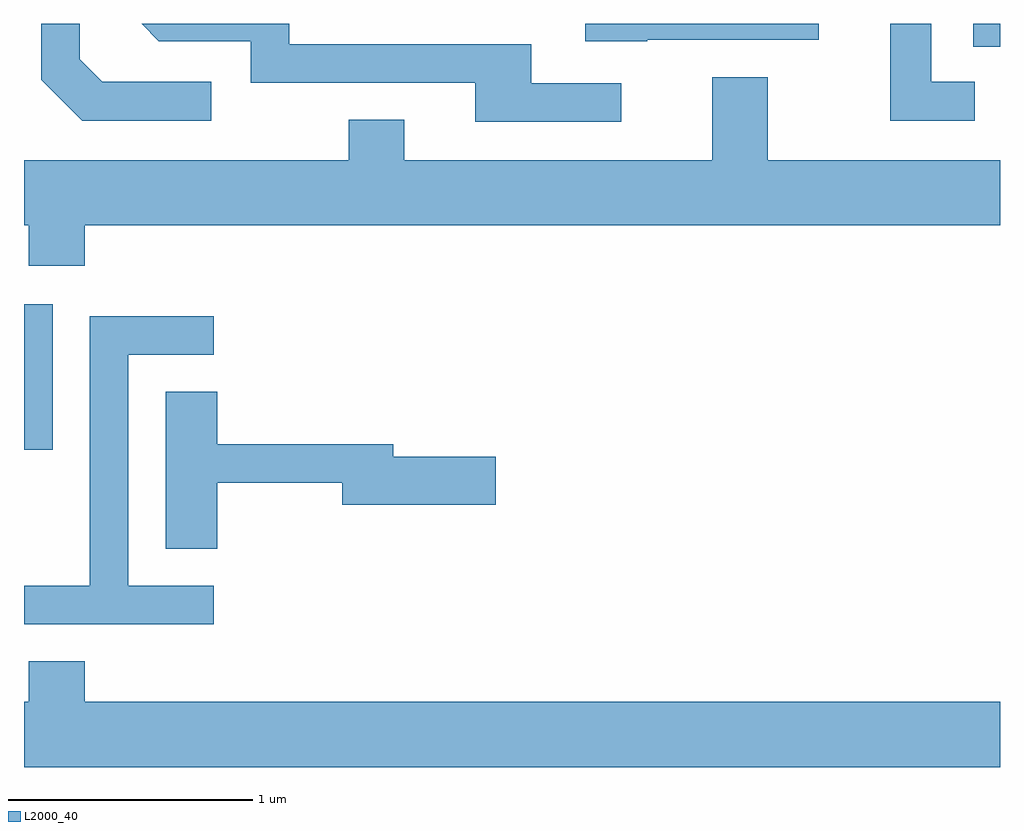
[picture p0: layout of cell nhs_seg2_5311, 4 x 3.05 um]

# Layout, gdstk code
import gdstk
lib = gdstk.Library(unit=1e-6, precision=1e-09)
def R(c, l, rs):  # rectangles x0, y0, x1, y1
    for r in rs: c.add(gdstk.rectangle(r[:2], r[2:], *l))
def P(c, l, *ps):  # polygons
    for p in ps: c.add(gdstk.Polygon(p, *l))
L2000_40 = (2000, 40)

nhs_seg2_5311 = lib.new_cell('nhs_seg2_5311')
R(nhs_seg2_5311, L2000_40, [(341.611,1054.056,341.729,1054.654), (345.501,1055.708,345.611,1055.802)])
P(nhs_seg2_5311, L2000_40, [(342.378,1055.564),(341.932,1055.564),(341.839,1055.657),(341.839,1055.802),(341.681,1055.802),(341.681,1055.574),(341.849,1055.406),(342.378,1055.406)],
  [(344.058,1055.559),(343.689,1055.559),(343.689,1055.719),(342.699,1055.719),(342.699,1055.802),(342.093,1055.802),(342.164,1055.731),(342.541,1055.731),(342.541,1055.561),(343.461,1055.561),(343.461,1055.401),(344.058,1055.401)],
  [(345.508,1055.564),(345.329,1055.564),(345.329,1055.802),(345.161,1055.802),(345.161,1055.406),(345.508,1055.406)],
  [(344.165,1055.736),(344.869,1055.736),(344.869,1055.802),(343.911,1055.802),(343.911,1055.731),(344.165,1055.731)],
  [(341.859,1054.976),(345.611,1054.976),(345.611,1055.244),(344.659,1055.244),(344.659,1055.584),(344.431,1055.584),(344.431,1055.244),(343.169,1055.244),(343.169,1055.409),(342.941,1055.409),(342.941,1055.244),(341.611,1055.244),(341.611,1054.976),(341.631,1054.976),(341.631,1054.811),(341.859,1054.811)],
  [(342.388,1053.499),(342.039,1053.499),(342.039,1054.446),(342.388,1054.446),(342.388,1054.604),(341.881,1054.604),(341.881,1053.499),(341.611,1053.499),(341.611,1053.341),(342.388,1053.341)],
  [(342.404,1053.921),(342.916,1053.921),(342.916,1053.831),(343.544,1053.831),(343.544,1054.029),(343.124,1054.029),(343.124,1054.079),(342.404,1054.079),(342.404,1054.294),(342.191,1054.294),(342.191,1053.651),(342.404,1053.651)],
  [(345.611,1053.024),(341.859,1053.024),(341.859,1053.189),(341.631,1053.189),(341.631,1053.024),(341.611,1053.024),(341.611,1052.756),(345.611,1052.756)])

lib.write_gds('nhs_seg2_5311.gds')
